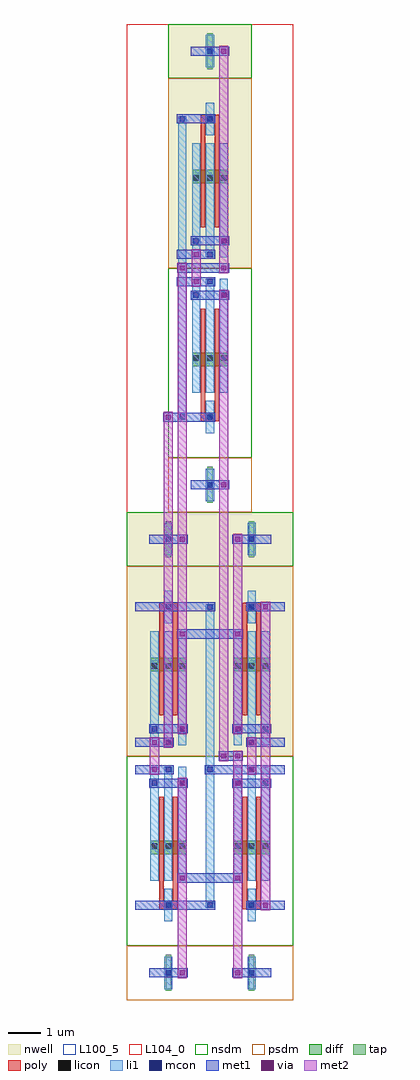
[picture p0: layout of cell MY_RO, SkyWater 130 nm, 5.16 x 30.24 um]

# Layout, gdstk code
import gdstk
lib = gdstk.Library(unit=1e-6, precision=1e-09)
def R(c, l, rs):  # rectangles x0, y0, x1, y1
    for r in rs: c.add(gdstk.rectangle(r[:2], r[2:], *l))
def A(c, l, x, y, w, h, nx, ny, dx, dy):  # array of equal rectangles
    R(c, l, [(x+i*dx, y+j*dy, x+i*dx+w, y+j*dy+h) for i in range(nx) for j in range(ny)])
nwell = (64, 20)
diff = (65, 20)
tap = (65, 44)
poly = (66, 20)
licon = (66, 44)
li1 = (67, 20)
mcon = (67, 44)
met1 = (68, 20)
via = (68, 44)
met2 = (69, 20)
nsdm = (93, 44)
psdm = (94, 20)
L100_5 = (100, 5)
L104_0 = (104, 0)

my_ro = lib.new_cell('MY_RO')
R(my_ro, nwell, [(0,7.56,2.58,15.12), (2.58,7.56,5.16,15.12), (1.29,22.68,3.87,30.24)])
R(my_ro, diff, [(0.735,4.515,1.845,4.935), (3.315,4.515,4.425,4.935), (0.735,10.185,1.845,10.605), (3.315,10.185,4.425,10.605), (2.025,19.635,3.135,20.055), (2.025,25.305,3.135,25.725)])
R(my_ro, tap, [(1.205,0.28,1.375,1.4), (3.785,0.28,3.955,1.4), (1.205,13.72,1.375,14.84), (3.785,13.72,3.955,14.84), (2.495,15.4,2.665,16.52), (2.495,28.84,2.665,29.96)])
R(my_ro, poly, [(1,2.805,1.58,3.075), (3.58,2.805,4.16,3.075), (1,2.94,1.15,6.3), (1.43,2.94,1.58,6.3), (3.58,2.94,3.73,6.3), (4.01,2.94,4.16,6.3), (1,8.82,1.15,12.18), (1.43,8.82,1.58,12.18), (3.58,8.82,3.73,12.18), (4.01,8.82,4.16,12.18), (1,12.045,1.58,12.315), (3.58,12.045,4.16,12.315), (2.29,17.925,2.87,18.195), (2.29,18.06,2.44,21.42), (2.72,18.06,2.87,21.42), (2.29,23.94,2.44,27.3), (2.72,23.94,2.87,27.3), (2.29,27.165,2.87,27.435)])
A(my_ro, licon, 0.775, 4.685, 0.17, 0.17, 3, 2, 0.43, 5.58)
A(my_ro, licon, 3.355, 4.685, 0.17, 0.17, 3, 2, 0.43, 5.58)
A(my_ro, licon, 2.065, 19.805, 0.17, 0.17, 3, 2, 0.43, 5.58)
R(my_ro, licon, [(1.205,0.755,1.375,0.925), (3.785,0.755,3.955,0.925), (1.205,2.855,1.375,3.025), (3.785,2.855,3.955,3.025), (1.205,12.095,1.375,12.265), (3.785,12.095,3.955,12.265), (1.205,14.195,1.375,14.365), (3.785,14.195,3.955,14.365), (2.495,15.875,2.665,16.045), (2.495,17.975,2.665,18.145), (2.495,27.215,2.665,27.385), (2.495,29.315,2.665,29.485)])
A(my_ro, li1, 0.735, 3.695, 0.25, 3.53, 3, 2, 0.43, 4.2)
A(my_ro, li1, 3.315, 3.695, 0.25, 3.53, 3, 2, 0.43, 4.2)
A(my_ro, li1, 2.025, 18.815, 0.25, 3.53, 3, 2, 0.43, 4.2)
R(my_ro, li1, [(1.165,0.335,1.415,1.345), (3.745,0.335,3.995,1.345), (1.165,2.435,1.415,3.445), (3.745,2.435,3.995,3.445), (2.455,2.855,2.705,12.265), (1.165,11.675,1.415,12.685), (3.745,11.675,3.995,12.685), (1.165,13.775,1.415,14.785), (3.745,13.775,3.995,14.785), (2.455,15.455,2.705,16.465), (2.455,17.555,2.705,18.565), (1.595,17.975,1.845,27.385), (2.455,26.795,2.705,27.805), (2.455,28.895,2.705,29.905)])
A(my_ro, mcon, 1.205, 2.855, 0.17, 0.17, 3, 2, 1.29, 4.2)
A(my_ro, mcon, 1.205, 12.095, 0.17, 0.17, 3, 1, 1.29, 0)
R(my_ro, mcon, [(1.205,0.755,1.375,0.925), (3.785,0.755,3.955,0.925), (0.775,6.635,0.945,6.805), (1.635,6.635,1.805,6.805), (3.355,6.635,3.525,6.805), (4.215,6.635,4.385,6.805), (1.205,7.895,1.375,8.065), (3.785,7.895,3.955,8.065), (0.775,8.315,0.945,8.485), (1.635,8.315,1.805,8.485), (3.355,8.315,3.525,8.485), (4.215,8.315,4.385,8.485), (1.205,14.195,1.375,14.365), (3.785,14.195,3.955,14.365), (2.495,15.875,2.665,16.045), (1.635,17.975,1.805,18.145), (2.495,17.975,2.665,18.145), (2.065,21.755,2.235,21.925), (2.925,21.755,3.095,21.925), (2.495,22.175,2.665,22.345), (2.495,23.015,2.665,23.185), (2.065,23.435,2.235,23.605), (2.925,23.435,3.095,23.605), (1.635,27.215,1.805,27.385), (2.495,27.215,2.665,27.385), (2.495,29.315,2.665,29.485)])
R(my_ro, met1, [(0.69,0.7,1.89,0.98), (3.27,0.7,4.47,0.98), (0.26,2.8,2.75,3.08), (3.7,2.8,4.9,3.08), (1.56,3.64,3.6,3.92), (0.69,6.58,1.89,6.86), (3.27,6.58,4.47,6.86), (0.26,7,1.46,7.28), (2.41,7,4.9,7.28), (2.85,7.42,3.6,7.7), (0.26,7.84,1.46,8.12), (3.7,7.84,4.9,8.12), (0.69,8.26,1.89,8.54), (3.27,8.26,4.47,8.54), (1.56,11.2,3.6,11.48), (0.26,12.04,2.75,12.32), (3.7,12.04,4.9,12.32), (0.69,14.14,1.89,14.42), (3.27,14.14,4.47,14.42), (1.98,15.82,3.18,16.1), (1.13,17.92,2.75,18.2), (1.98,21.7,3.18,21.98), (1.55,22.12,2.75,22.4), (1.56,22.54,3.17,22.82), (1.55,22.96,2.75,23.24), (1.98,23.38,3.18,23.66), (1.55,27.16,2.75,27.44), (1.98,29.26,3.18,29.54)])
A(my_ro, via, 1.645, 0.765, 0.15, 0.15, 1, 3, 0, 2.94)
A(my_ro, via, 3.365, 0.765, 0.15, 0.15, 1, 3, 0, 2.94)
A(my_ro, via, 1.645, 8.325, 0.15, 0.15, 1, 3, 0, 2.94)
A(my_ro, via, 3.365, 8.325, 0.15, 0.15, 1, 3, 0, 2.94)
A(my_ro, via, 2.935, 21.765, 0.15, 0.15, 1, 3, 0, 0.84)
R(my_ro, via, [(4.225,2.865,4.375,3.015), (0.785,7.065,0.935,7.215), (3.795,7.065,3.945,7.215), (2.935,7.485,3.085,7.635), (3.365,7.485,3.515,7.635), (0.785,7.905,0.935,8.055), (1.215,7.905,1.365,8.055), (3.795,7.905,3.945,8.055), (4.225,12.105,4.375,12.255), (2.935,15.885,3.085,16.035), (1.215,17.985,1.365,18.135), (2.075,22.185,2.225,22.335), (1.645,22.605,1.795,22.755), (2.075,23.025,2.225,23.175), (2.935,29.325,3.085,29.475)])
R(my_ro, met2, [(1.58,0.68,1.86,6.88), (3.3,0.68,3.58,7.72), (4.16,2.78,4.44,12.34), (0.72,6.98,1,8.14), (3.73,6.98,4.01,8.14), (2.87,7.4,3.15,22), (1.15,7.82,1.43,18.22), (1.58,8.24,1.86,22.84), (3.3,8.24,3.58,14.44), (2.01,22.1,2.29,23.26), (2.87,22.52,3.15,29.56)])
R(my_ro, nsdm, [(0,1.68,2.58,7.56), (2.58,1.68,5.16,7.56), (0,13.44,2.58,15.12), (2.58,13.44,5.16,15.12), (1.29,16.8,3.87,22.68), (1.29,28.56,3.87,30.24)])
R(my_ro, psdm, [(0,0,2.58,1.68), (2.58,0,5.16,1.68), (0,7.56,2.58,13.44), (2.58,7.56,5.16,13.44), (1.29,15.12,3.87,16.8), (1.29,22.68,3.87,28.56)])
R(my_ro, L100_5, [(0,0,5.16,30.24)])
R(my_ro, L104_0, [(0,0,5.16,30.24)])

lib.write_gds('MY_RO.gds')
